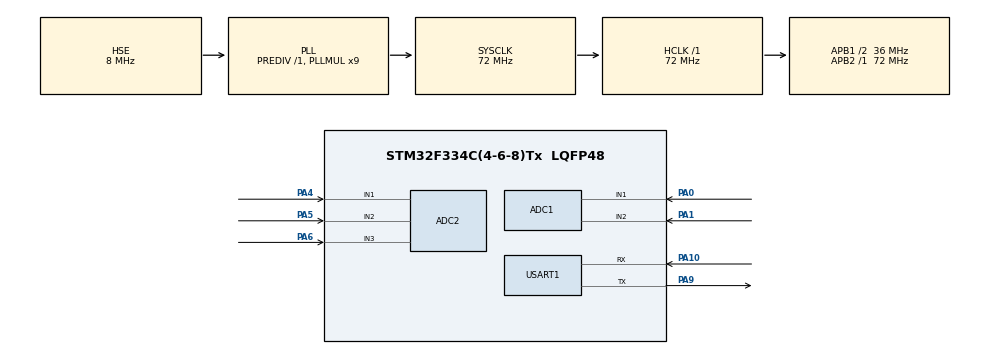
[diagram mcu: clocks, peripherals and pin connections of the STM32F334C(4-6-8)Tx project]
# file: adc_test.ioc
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ADC1.Channel-0\#ChannelRegularConversion=ADC_CHANNEL_1
ADC1.Channel-6\#ChannelRegularConversion=ADC_CHANNEL_2
ADC1.ContinuousConvMode=DISABLE
ADC1.DMAContinuousRequests=DISABLE
ADC1.DiscontinuousConvMode=ENABLE
ADC1.EOCSelection=ADC_EOC_SINGLE_CONV
ADC1.NbrOfConversion=2
ADC1.NbrOfConversionFlag=1
ADC1.Offset-0\#ChannelRegularConversion=0
ADC1.Offset-6\#ChannelRegularConversion=0
ADC1.OffsetNumber-0\#ChannelRegularConversion=ADC_OFFSET_NONE
ADC1.OffsetNumber-6\#ChannelRegularConversion=ADC_OFFSET_NONE
ADC1.Rank-0\#ChannelRegularConversion=1
ADC1.Rank-6\#ChannelRegularConversion=2
ADC1.SamplingTime-0\#ChannelRegularConversion=ADC_SAMPLETIME_1CYCLE_5
ADC1.SamplingTime-6\#ChannelRegularConversion=ADC_SAMPLETIME_1CYCLE_5
ADC1.SamplingTimeOPAMP-6\#ChannelRegularConversion=ADC_SAMPLETIME_7CYCLES_5
ADC1.SubFamily=STM32F334x8
ADC1.master=1
ADC2.Channel-10\#ChannelRegularConversion=ADC_CHANNEL_3
ADC2.Channel-8\#ChannelRegularConversion=ADC_CHANNEL_1
ADC2.Channel-9\#ChannelRegularConversion=ADC_CHANNEL_2
ADC2.ContinuousConvMode=DISABLE
ADC2.DiscontinuousConvMode=ENABLE
ADC2.NbrOfConversion=3
ADC2.NbrOfConversionFlag=1
ADC2.Offset-10\#ChannelRegularConversion=0
ADC2.Offset-8\#ChannelRegularConversion=0
ADC2.Offset-9\#ChannelRegularConversion=0
ADC2.OffsetNumber-10\#ChannelRegularConversion=ADC_OFFSET_NONE
ADC2.OffsetNumber-8\#ChannelRegularConversion=ADC_OFFSET_NONE
ADC2.OffsetNumber-9\#ChannelRegularConversion=ADC_OFFSET_NONE
ADC2.Rank-10\#ChannelRegularConversion=3
ADC2.Rank-8\#ChannelRegularConversion=1
ADC2.Rank-9\#ChannelRegularConversion=2
ADC2.SamplingTime-10\#ChannelRegularConversion=ADC_SAMPLETIME_1CYCLE_5
ADC2.SamplingTime-8\#ChannelRegularConversion=ADC_SAMPLETIME_1CYCLE_5
ADC2.SamplingTime-9\#ChannelRegularConversion=ADC_SAMPLETIME_1CYCLE_5
ADC2.SamplingTimeOPAMP-10\#ChannelRegularConversion=ADC_SAMPLETIME_7CYCLES_5
ADC2.SamplingTimeOPAMP-9\#ChannelRegularConversion=ADC_SAMPLETIME_7CYCLES_5
Mcu.Family=STM32F3
Mcu.Name=STM32F334C(4-6-8)Tx
Mcu.Package=LQFP48
NVIC.PriorityGroup=NVIC_PRIORITYGROUP_4
NVIC.USART1_IRQn=true\:0\:0\:false\:false\:true\:true\:true
PA0.Mode=IN1-Single-Ended
PA0.Signal=ADC1_IN1
PA1.Mode=IN2-Single-Ended
PA1.Signal=ADC1_IN2
PA10.Mode=Asynchronous
PA10.Signal=USART1_RX
PA13.Mode=Serial_Wire
PA13.Signal=SYS_JTMS-SWDIO
PA14.Mode=Serial_Wire
PA14.Signal=SYS_JTCK-SWCLK
PA4.Mode=IN1-Single-Ended
PA4.Signal=ADC2_IN1
PA5.Mode=IN2-Single-Ended
PA5.Signal=ADC2_IN2
PA6.Mode=IN3-Single-Ended
PA6.Signal=ADC2_IN3
PA9.Mode=Asynchronous
PA9.Signal=USART1_TX
PF0\ /\ OSC_IN.Mode=HSE-External-Oscillator
PF0\ /\ OSC_IN.Signal=RCC_OSC_IN
PF1\ /\ OSC_OUT.Mode=HSE-External-Oscillator
PF1\ /\ OSC_OUT.Signal=RCC_OSC_OUT
ProjectManager.HeapSize=0x200
ProjectManager.StackSize=0x400
ProjectManager.TargetToolchain=MDK-ARM V5.32
RCC.ADC12PRES=RCC_ADC12PLLCLK_DIV6
RCC.AHBFreq_Value=72000000
RCC.APB1CLKDivider=RCC_HCLK_DIV2
RCC.APB1Freq_Value=36000000
RCC.APB1TimFreq_Value=72000000
RCC.APB2Freq_Value=72000000
RCC.APB2TimFreq_Value=72000000
RCC.CortexFreq_Value=72000000
RCC.HCLKFreq_Value=72000000
RCC.HSE_VALUE=8000000
RCC.HSI_VALUE=8000000
RCC.LSE_VALUE=32768
RCC.PLLMUL=RCC_PLL_MUL9
RCC.PLLSourceVirtual=RCC_PLLSOURCE_HSE
RCC.SYSCLKFreq_VALUE=72000000
RCC.SYSCLKSourceVirtual=RCC_SYSCLKSOURCE_PLLCLK
USART1.VirtualMode-Asynchronous=VM_ASYNC
board=custom

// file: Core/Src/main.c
/* USER CODE BEGIN Header */
/**
  ******************************************************************************
  * @file           : main.c
  * @brief          : Main program body
  ******************************************************************************
  * @attention
  *
  * <h2><center>&copy; Copyright (c) 2022 STMicroelectronics.
  * All rights reserved.</center></h2>
  *
  * This software component is licensed by ST under BSD 3-Clause license,
  * the "License"; You may not use this file except in compliance with the
  * License. You may obtain a copy of the License at:
  *                        opensource.org/licenses/BSD-3-Clause
  *
  ******************************************************************************
  */
/* USER CODE END Header */
#include "main.h"
#include "adc.h"
#include "usart.h"
#include "gpio.h"

/* USER CODE BEGIN Includes */
#include "stdio.h"
#include "string.h"
/* USER CODE END Includes */

/* USER CODE BEGIN PV */
uint32_t ADC_DMA1[2];//ADC采集存储
uint32_t ADC_DMA2[3];
uint8_t i;
float V_IN,C_IN,C_OUT,V_CAP,C_CAP;
/* USER CODE END PV */

void SystemClock_Config(void);

int main(void)
{

  /* MCU Configuration--------------------------------------------------------*/

  /* Reset of all peripherals, Initializes the Flash interface and the Systick. */
  HAL_Init();

  /* Configure the system clock */
  SystemClock_Config();

  /* Initialize all configured peripherals */
  MX_GPIO_Init();
  MX_ADC1_Init();
  MX_USART1_UART_Init();
  MX_ADC2_Init();

  /* Infinite loop */
  while (1)
  {

    /* USER CODE BEGIN 3 */

		 for(i=0;i<2;i++)
      {
           HAL_ADC_Start(&hadc1);
           HAL_ADC_PollForConversion(&hadc1,0xffff);
           ADC_DMA1[i]=HAL_ADC_GetValue(&hadc1);
       }
		 HAL_ADC_Stop(&hadc1);
		 for(i=0;i<3;i++)
      {
           HAL_ADC_Start(&hadc2);
           HAL_ADC_PollForConversion(&hadc2,0xffff);
           ADC_DMA2[i]=HAL_ADC_GetValue(&hadc2);
       }
		HAL_ADC_Stop(&hadc2);
		V_IN = (float)(ADC_DMA1[0])*3.3/4096*20;
		C_IN= (float)(ADC_DMA1[1])*3.3/4096*5;
		C_OUT = (float)(ADC_DMA2[0])*3.3/4096*5;
		V_CAP = (float)(ADC_DMA2[1])*3.3/4096*20;
		C_CAP = (float)(ADC_DMA2[2])*3.3/4096*2.5;
		printf("V_IN=%f,C_IN=%f,C2OUT=%f,V_CAP=%f,C_CAP=%f\n",V_IN,C_IN,C_OUT,V_CAP,C_CAP);
		HAL_Delay(100);
  }
  /* USER CODE END 3 */
}

void SystemClock_Config(void)
{
  RCC_OscInitTypeDef RCC_OscInitStruct = {0};
  RCC_ClkInitTypeDef RCC_ClkInitStruct = {0};
  RCC_PeriphCLKInitTypeDef PeriphClkInit = {0};

  /** Initializes the RCC Oscillators according to the specified parameters
  * in the RCC_OscInitTypeDef structure.
  */
  RCC_OscInitStruct.OscillatorType = RCC_OSCILLATORTYPE_HSE;
  RCC_OscInitStruct.HSEState = RCC_HSE_ON;
  RCC_OscInitStruct.HSEPredivValue = RCC_HSE_PREDIV_DIV1;
  RCC_OscInitStruct.HSIState = RCC_HSI_ON;
  RCC_OscInitStruct.PLL.PLLState = RCC_PLL_ON;
  RCC_OscInitStruct.PLL.PLLSource = RCC_PLLSOURCE_HSE;
  RCC_OscInitStruct.PLL.PLLMUL = RCC_PLL_MUL9;
  if (HAL_RCC_OscConfig(&RCC_OscInitStruct) != HAL_OK)
  {
    Error_Handler();
  }
  /** Initializes the CPU, AHB and APB buses clocks
  */
  RCC_ClkInitStruct.ClockType = RCC_CLOCKTYPE_HCLK|RCC_CLOCKTYPE_SYSCLK
                              |RCC_CLOCKTYPE_PCLK1|RCC_CLOCKTYPE_PCLK2;
  RCC_ClkInitStruct.SYSCLKSource = RCC_SYSCLKSOURCE_PLLCLK;
  RCC_ClkInitStruct.AHBCLKDivider = RCC_SYSCLK_DIV1;
  RCC_ClkInitStruct.APB1CLKDivider = RCC_HCLK_DIV2;
  RCC_ClkInitStruct.APB2CLKDivider = RCC_HCLK_DIV1;

  if (HAL_RCC_ClockConfig(&RCC_ClkInitStruct, FLASH_LATENCY_2) != HAL_OK)
  {
    Error_Handler();
  }
  PeriphClkInit.PeriphClockSelection = RCC_PERIPHCLK_USART1|RCC_PERIPHCLK_ADC12;
  PeriphClkInit.Usart1ClockSelection = RCC_USART1CLKSOURCE_PCLK1;
  PeriphClkInit.Adc12ClockSelection = RCC_ADC12PLLCLK_DIV6;
  if (HAL_RCCEx_PeriphCLKConfig(&PeriphClkInit) != HAL_OK)
  {
    Error_Handler();
  }
}

void Error_Handler(void)
{
  __disable_irq();
  while (1)
  {
  }
}

/************************ (C) COPYRIGHT STMicroelectronics *****END OF FILE****/
